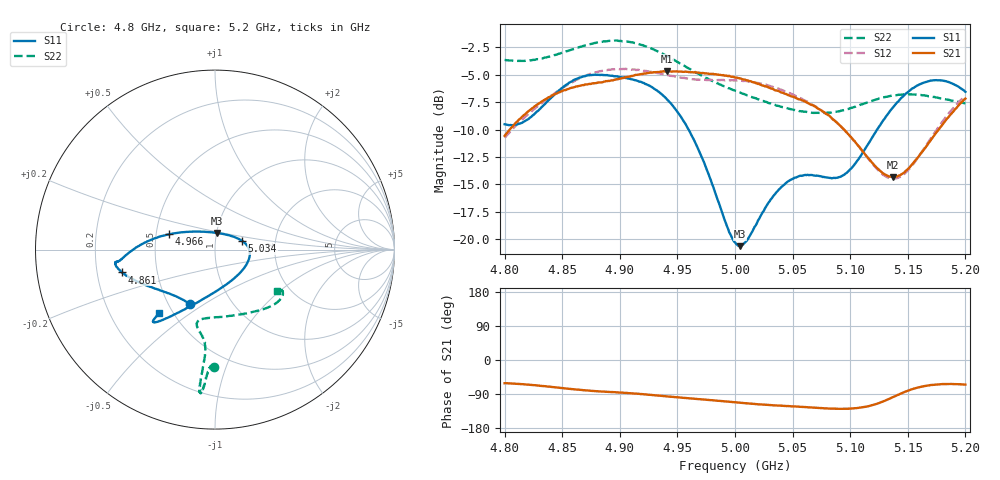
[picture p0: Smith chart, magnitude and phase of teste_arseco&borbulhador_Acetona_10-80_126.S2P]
! Network Analyzer HP8722D
! Hewlett-Packard
! Data name: Linha & Wilkinson
! Saver's name: Rodrigo Anjos
! Comments: Teste da utilização de aquisição
! continua pelo VNA HP8722D
! Time and date: 17/4/2025 15:24
!  Frequency  S11  S21  S12  S22
# HZ  S  MA R 50
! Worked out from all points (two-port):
!   401 points, 4.8 GHz to 5.2 GHz, reference 50 ohm
!   highest |S21| = -4.68 dB at 4.941 GHz (marker M1); lowest = -14.4 dB at 5.137 GHz (marker M2)
!   |S21| within 3 dB of the highest: 4.829 GHz to 5.065 GHz (235.8 MHz wide, 4.77 % of centre); 5.195049 GHz to end of sweep
!   lowest |S11| = -20.6 dB at 5.004 GHz (marker M3), VSWR 1.21, Z = 50.3 + j9.37 ohm
!   |S11| at or under -10 dB: 4.96 GHz to 5.123 GHz (163.7 MHz wide, 3.25 % of centre)
!   |S22| runs from -8.5 to -1.9 dB; largest |S21 - S12| = 0.87
!   S11 on the Smith chart (normalised r, x): 4.8 GHz: 0.64, -0.44; 4.861 GHz: 0.31, -0.11; 4.966 GHz: 0.58, +0.11; 5.034 GHz: 1.35, +0.14; 5.2 GHz: 0.42, -0.38
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4.8e9  0.3342 -114.3  0.2961 -61.3  0.2901 -175.4  0.6563 -90.4
4.819e9  0.349 -134.3  0.3767 -64.7  0.3653 -174.3  0.6514 -92.0
4.861e9  0.5341 -166.2  0.4939 -77.7  0.5271 -177.3  0.739 -94.4
4.867e9  0.549 -168.6  0.5031 -79.4  0.5462 -178.7  0.755 -94.5
4.899e9  0.5491 -173.0  0.5372 -85.8  0.5962 174.8  0.8008 -96.0
4.934e9  0.4693 -178.9  0.5775 -94.1  0.5705 171.2  0.7126 -96.2
4.941e9  0.4336 178.0  0.5833 -96.0  0.5598 171.4  0.6841 -95.9
4.966e9  0.272 161.8  0.5759 -102.6  0.5342 173.3  0.5749 -95.4
5e9  0.09684 97.6  0.5454 -111.8  0.5305 175.7  0.4757 -99.5
5.004e9  0.0931 83.1  0.5411 -112.6  0.5285 175.7  0.4669 -100.3
5.012e9  0.1019 56.5  0.526 -114.7  0.5222 175.2  0.4506 -102.2
5.034e9  0.159 17.9  0.4798 -119.7  0.4921 174.4  0.4105 -103.5
5.05e9  0.1884 1.7  0.4471 -122.3  0.4575 173.6  0.3902 -99.4
5.067e9  0.1962 -16.5  0.4089 -125.3  0.4109 173.2  0.377 -90.2
5.086e9  0.1906 -46.8  0.349 -128.4  0.3489 173.3  0.3803 -75.5
5.097e9  0.2009 -69.1  0.3063 -128.7  0.3067 174.6  0.3911 -66.7
5.123e9  0.3142 -109.0  0.2118 -115.7  0.2099 -170.2  0.4345 -48.5
5.134e9  0.3801 -117.7  0.1929 -102.3  0.1896 -155.3  0.4488 -43.0
5.137e9  0.3977 -119.5  0.1915 -98.1  0.189 -150.6  0.4521 -41.7
5.15e9  0.468 -125.3  0.2085 -81.3  0.2059 -130.8  0.4573 -36.9
5.17e9  0.5284 -129.9  0.2832 -66.1  0.2885 -112.3  0.4476 -32.3
5.2e9  0.4694 -131.3  0.4376 -64.9  0.45 -107.1  0.4159 -33.8
